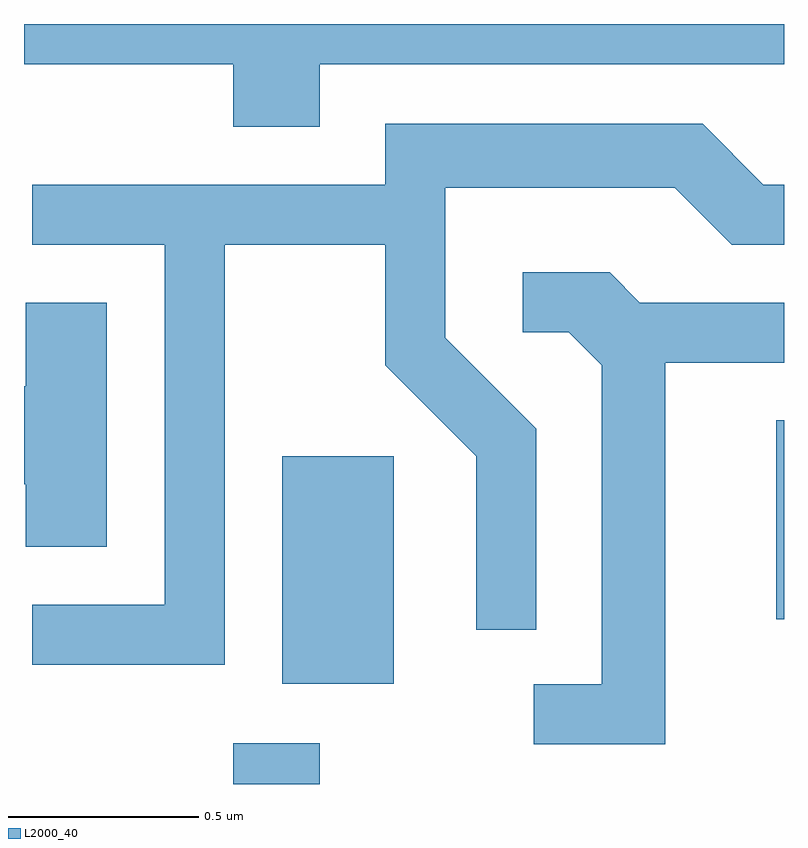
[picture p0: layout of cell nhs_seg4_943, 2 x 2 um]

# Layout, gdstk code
import gdstk
lib = gdstk.Library(unit=1e-6, precision=1e-09)
def R(c, l, rs):  # rectangles x0, y0, x1, y1
    for r in rs: c.add(gdstk.rectangle(r[:2], r[2:], *l))
def P(c, l, *ps):  # polygons
    for p in ps: c.add(gdstk.Polygon(p, *l))
L2000_40 = (2000, 40)

nhs_seg4_943 = lib.new_cell('nhs_seg4_943')
R(nhs_seg4_943, L2000_40, [(192.161,1374.982,192.389,1375.089), (192.291,1375.246,192.584,1375.844), (193.591,1375.416,193.611,1375.939)])
P(nhs_seg4_943, L2000_40, [(192.389,1376.876),(193.611,1376.876),(193.611,1376.982),(191.611,1376.982),(191.611,1376.876),(192.161,1376.876),(192.161,1376.711),(192.389,1376.711)],
  [(192.139,1376.401),(192.561,1376.401),(192.561,1376.084),(192.801,1375.844),(192.801,1375.388),(192.959,1375.388),(192.959,1375.917),(192.719,1376.157),(192.719,1376.551),(193.324,1376.551),(193.474,1376.401),(193.611,1376.401),(193.611,1376.559),(193.557,1376.559),(193.397,1376.719),(192.561,1376.719),(192.561,1376.559),(191.633,1376.559),(191.633,1376.401),(191.981,1376.401),(191.981,1375.454),(191.633,1375.454),(191.633,1375.296),(192.139,1375.296)],
  [(193.299,1376.091),(193.611,1376.091),(193.611,1376.249),(193.232,1376.249),(193.152,1376.329),(192.923,1376.329),(192.923,1376.171),(193.044,1376.171),(193.131,1376.084),(193.131,1375.244),(192.953,1375.244),(192.953,1375.086),(193.299,1375.086)],
  [(191.829,1376.249),(191.616,1376.249),(191.616,1376.029),(191.611,1376.029),(191.611,1375.771),(191.616,1375.771),(191.616,1375.606),(191.829,1375.606)])

lib.write_gds('nhs_seg4_943.gds')
